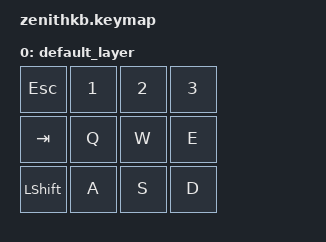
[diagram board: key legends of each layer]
/ {
    keymap {
        compatible = "zmk,keymap";

        default_layer {
            bindings = <
&kp ESC    &kp N1     &kp N2     &kp N3
&kp TAB    &kp Q      &kp W      &kp E
&kp LSHIFT &kp A      &kp S      &kp D
            >;
        };
    };
};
